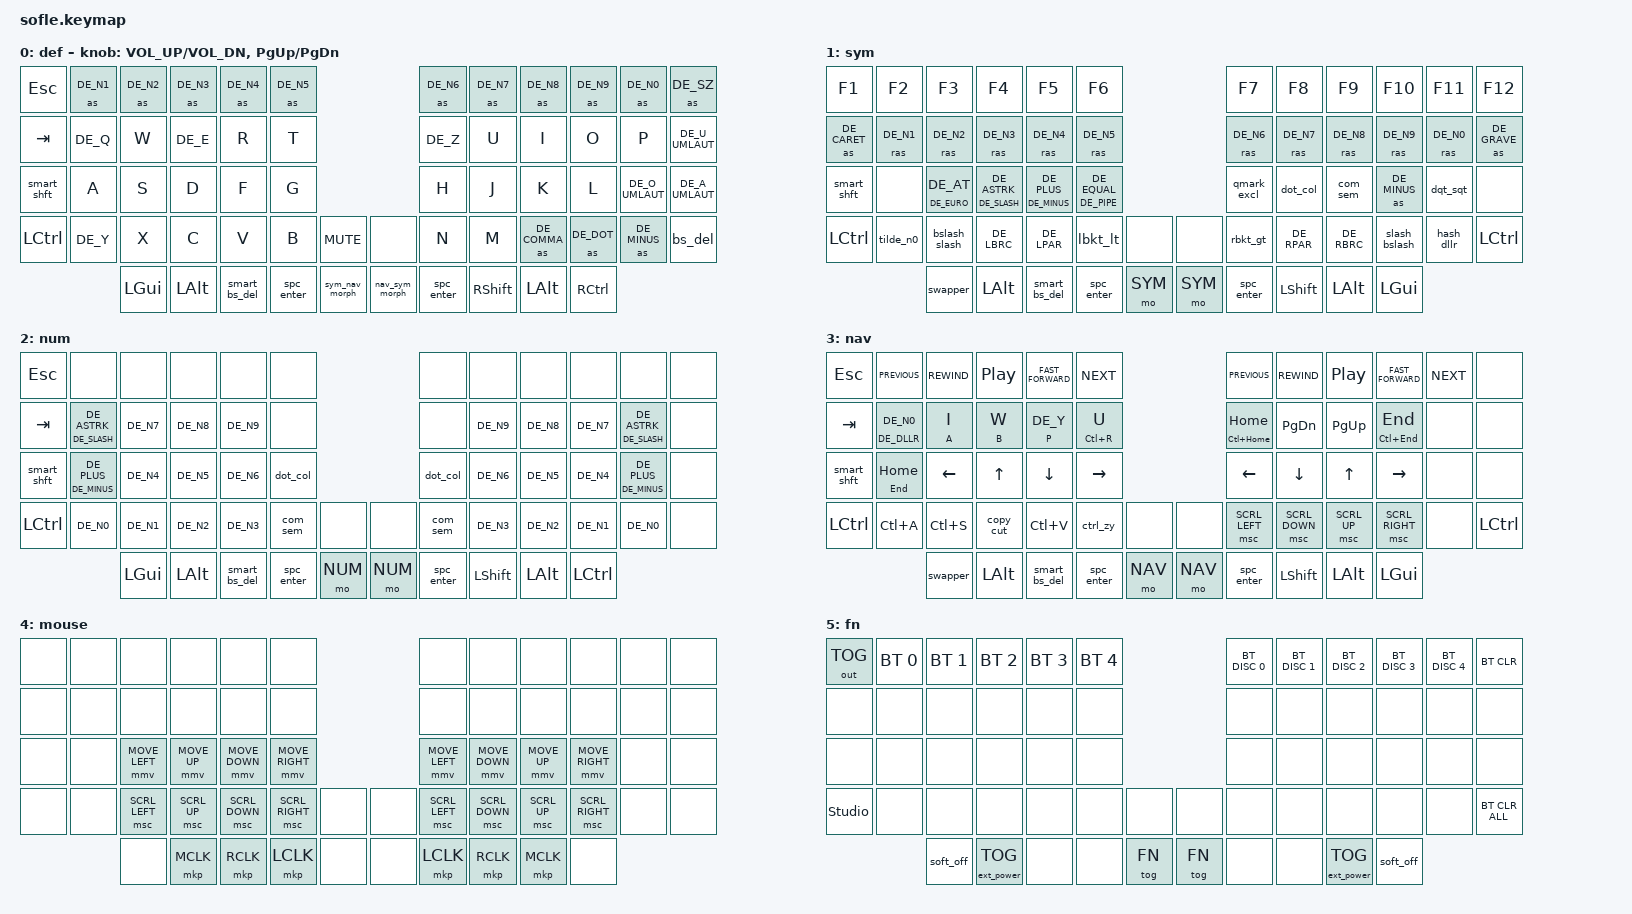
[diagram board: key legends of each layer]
#include <dt-bindings/zmk/keys.h>
#include <dt-bindings/zmk/bt.h>
#include <dt-bindings/zmk/ext_power.h>
#include <dt-bindings/zmk/outputs.h>

#include <behaviors.dtsi>

#include <behaviors/num_word.dtsi> // Requires auto-layer module.

#include "zmk-helpers/helper.h"
#include "zmk-helpers/key-labels/sofle.h" // Source desired key-position labels

#include <locale/keys_de.h> // for  german keys
#include "zmk-helpers/unicode-chars/german.dtsi"

/*
sofle mappings
╭────────────────────────────┬────────────────────────────╮ ╭─────────────────────────────┬─────────────────────────────╮
│  0   1   2   3   4   5     │      6   7   8   9  10  11 │ │ LN5 LN4 LN3 LN2 LN1 LN0     │     RN0 RN1 RN2 RN3 RN4 RN5 │
│ 12  13  14  15  16  17     │     18  19  20  21  22  23 │ │ LT5 LT4 LT3 LT2 LT1 LT0     │     RT0 RT1 RT2 RT3 RT4 RT5 │
│ 24  25  26  27  28  29     │     30  31  32  33  34  35 │ │ LM5 LM4 LM3 LM2 LM1 LM0     │     RM0 RM1 RM2 RM3 RM4 RM5 │
│ 36  37  38  39  40  41  42 │ 43  44  45  46  47  48  49 │ │ LB5 LB4 LB3 LB2 LB1 LB0 LEC │ REC RB0 RB1 RB2 RB3 RB4 RB5 │
╰───────╮ 50  51  52  53  54 │ 55  56  57  58  59 ╭───────╯ ╰───────╮ LH4 LH3 LH2 LH1 LH0 │ RH0 RH1 RH2 RH3 RH4 ╭───────╯
        ╰────────────────────┴────────────────────╯                 ╰─────────────────────┴─────────────────────╯
*/

/* layers */
#define DEF 0
#define SYM 1
#define NUM 2
#define NAV 3
#define MOUSE 4
#define FN 5

#define QUICK_TAP_MS 175

// SYM + NAV --> SYS
/* ZMK_CONDITIONAL_LAYER(sys, SYM NAV, SYSTEM) */

#define ZMK_POINTING_DEFAULT_MOVE_VAL 4000  // 600
#define ZMK_POINTING_DEFAULT_SCRL_VAL 50    // 10

#include <dt-bindings/zmk/pointing.h>

&soft_off { hold-time-ms = <5000>; };

// sticky-key config
&sk {
    release-after-ms = <900>;  // release after 0.9s
    quick-release;             // no double capitalization when rolling keys
};

&sl {  // sticky-layer config
    ignore-modifiers;          // allow chording sticky mods & layers
};

// long-tap action on hold, short-tap action on all interrupts
&mt {
    flavor = "tap-preferred";
    tapping-term-ms = <220>;
    quick-tap-ms = <220>;
    hold-trigger-key-positions = <0>;

};

// config for mouse, defaults in comments
&mmv {
    acceleration-exponent = <1>;      // 1
    time-to-max-speed-ms = <750>;     // 300
    delay-ms = <0>;                   // 0
};
&msc {
    acceleration-exponent = <1>;      // 0
    time-to-max-speed-ms = <100>;      // 300
    delay-ms = <0>;                   // 0
};

// Define mod-morph with a *single* mod trigger for less repetition.
#define SIMPLE_MORPH(NAME, MOD, BINDING1, BINDING2)                            \
    ZMK_MOD_MORPH(NAME, mods = <(MOD_L##MOD | MOD_R##MOD)>;                      \
    bindings = <BINDING1>, <BINDING2>;)

// Smart-mouse, requires tri-state module.
ZMK_TRI_STATE(
    smart_mouse,
    bindings = <&tog MOUSE>, <&none>, <&tog MOUSE>;
    ignored-key-positions = <LM3 LM2 LM1 LM0 LB3 LB2 LB1 LB0 LH3 LH2 LH1 LH0 RH0 RH1 RH2 RH3 RB0 RB1 RB2 RB3 RM0 RM1 RM2 RM3>;
    ignored-layers = <MOUSE>;
)

// tap: sticky-shift | shift + tap/ double-tap: caps-word | hold: shift
ZMK_MOD_MORPH(smart_shft,
    bindings = <&sk LSHFT>, <&caps_word>;
    mods = <(MOD_LSFT)>;
)
&caps_word { // Mods deactivate caps-word, requires PR #1451
  /delete-property/ ignore-modifiers;
};

&num_word {
  continue-list = <BSPC DEL DOT COMMA DE_ASTRK DE_PLUS DE_MINUS DE_SLASH>;  // do not continue on PLUS, MINUS, STAR, FSLH, EQUAL
};
// Tap: num-word | double-tap: sticky num-layer | Hold: num-layer.
#define _SMART_NUM &smart_num NUM 0
ZMK_HOLD_TAP(
    smart_num,
    bindings = <&mo>, <&num_dance>;
    flavor = "balanced";
    tapping-term-ms = <200>;
    quick-tap-ms = <QUICK_TAP_MS>;
)
ZMK_TAP_DANCE(
    num_dance,
    bindings = <&num_word NUM>, <&sl NUM>;
    tapping-term-ms = <200>;
)

// tap: sticky layer | double tap: toggle NAV | hold: NAV layer
#define _SMART_SYM &smart_sym SYM 0
ZMK_HOLD_TAP(
    smart_sym,
    bindings = <&mo>, <&sym_dance>;
    flavor = "balanced";
    tapping-term-ms = <200>;
    quick-tap-ms = <QUICK_TAP_MS>;
)
#define _SMART_SYM2 &smart_sym2 SYM SYM
ZMK_HOLD_TAP(
    smart_sym2,
    bindings = <&mo>, <&tog>;
    flavor = "balanced";
    tapping-term-ms = <200>;
    quick-tap-ms = <QUICK_TAP_MS>;
)
ZMK_TAP_DANCE(
    sym_dance,
    bindings = <&sl SYM>, <&tog SYM>;
    tapping-term-ms = <300>;
)

// tap: sticky layer | double tap: toggle SYM | hold: SYM layer
#define _SMART_NAV &smart_nav NAV 0
ZMK_HOLD_TAP(
    smart_nav,
    bindings = <&mo>, <&nav_dance>;
    flavor = "balanced";
    tapping-term-ms = <200>;
    quick-tap-ms = <QUICK_TAP_MS>;
)
#define _SMART_NAV2 &smart_nav2 NAV NAV
ZMK_HOLD_TAP(
    smart_nav2,
    bindings = <&mo>, <&tog>;
    flavor = "balanced";
    tapping-term-ms = <200>;
    quick-tap-ms = <QUICK_TAP_MS>;
)
ZMK_TAP_DANCE(
    nav_dance,
    bindings = <&sl NAV>, <&tog NAV>;
    tapping-term-ms = <300>;
)

// SMART_NAV with shift behavior:
// - Normal press: SMART_NAV
// - With Shift: SMART_SYM
// Allows accessing symbol layer with shift+nav key
#define _SMART_NAV_SYM &nav_sym_morph
ZMK_MOD_MORPH(nav_sym_morph,
    bindings = <_SMART_NAV>, <_SMART_SYM2>;
    mods = <(MOD_LSFT|MOD_RSFT)>;
)

// SMART_SYM with shift behavior:
// - Normal press: SMART_SYM
// - With Shift: SMART_NAV
// Allows accessing navigation layer with shift+sym key
#define _SMART_SYM_NAV &sym_nav_morph
ZMK_MOD_MORPH(sym_nav_morph,
    bindings = <_SMART_SYM>, <_SMART_NAV2>;
    mods = <(MOD_LSFT|MOD_RSFT)>;
)


// tap: backspace | lshft + tap: delete | rshft + tap: shift-delete

ZMK_MOD_MORPH(bs_del,
    bindings = <&kp BSPC>, <&kp DEL>;
    mods = <(MOD_LSFT|MOD_RSFT)>;
    keep-mods = <MOD_RSFT>;
)
ZMK_MOD_MORPH(rbs_del,
    bindings = <&kp BSPC>, <&kp DEL>;
    mods = <(MOD_LSFT|MOD_RSFT)>;
)

// Advanced backspace/delete with Ctrl support using ZMK Helpers
// - Tap: Backspace
// - Shift + tap: Delete
// - RShift + tap: Shift+Delete
// - Ctrl + tap: Ctrl+Backspace (delete word backward)
// - Ctrl+Shift + tap: Ctrl+Delete (delete word forward)

ZMK_MOD_MORPH(ctrl_bspc_del,
    bindings = <&kp LC(BSPC)>, <&kp LC(DEL)>;
    mods = <(MOD_LSFT|MOD_RSFT)>;
    keep-mods = <(MOD_RSFT)>;
)

ZMK_MOD_MORPH(enhanced_bs_del,
    bindings = <&kp BSPC>, <&kp DEL>;
    mods = <(MOD_LSFT|MOD_RSFT)>;
    keep-mods = <(MOD_RSFT)>;
)

ZMK_MOD_MORPH(smart_bs_del,
    bindings = <&enhanced_bs_del>, <&ctrl_bspc_del>;
    mods = <(MOD_LCTL|MOD_RCTL)>;
)

// Advanced backspace/delete with Ctrl support using ZMK Helpers
// - Tap: Backspace
// - Shift + tap: Delete
// - RShift + tap: Shift+Delete
// - Ctrl + tap: Ctrl+Backspace (delete word backward)
// - Ctrl+Shift + tap: Ctrl+Delete (delete word forward)

ZMK_MOD_MORPH(ctrl_bspc_del,
    bindings = <&kp LC(BSPC)>, <&kp LC(DEL)>;
    mods = <(MOD_LSFT|MOD_RSFT)>;
    keep-mods = <(MOD_RSFT)>;
)

ZMK_MOD_MORPH(enhanced_bs_del,
    bindings = <&kp BSPC>, <&kp DEL>;
    mods = <(MOD_LSFT|MOD_RSFT)>;
    keep-mods = <(MOD_RSFT)>;
)

ZMK_MOD_MORPH(smart_bs_del,
    bindings = <&enhanced_bs_del>, <&ctrl_bspc_del>;
    mods = <(MOD_LCTL|MOD_RCTL)>;
)

// tap: Space | Shift + tap: enter
// rshift and rctrl are being passed through
ZMK_MOD_MORPH(spc_enter,
    bindings = <&kp SPACE>, <&kp ENTER>;
    mods = <(MOD_LSFT|MOD_RSFT|MOD_LCTL|MOD_RCTL)>;
    keep-mods = <(MOD_RSFT|MOD_RCTL)>;
)


// Alt+Tab swapper, requires tri-state module.
ZMK_TRI_STATE(
    swapper,
    bindings = <&kt LALT>, <&kp TAB>, <&kt LALT>;
    /* ignored-key-positions = <LT2 RT2 RM1 RM2 RM3>; */
)

// Shifted keypress macro
ZMK_MACRO_ONE_PARAM(shifted,
    bindings =
        <&macro_press>,
        <&kp LSHFT &macro_param_1to1>,
        <&macro_tap>,
        <&kp MACRO_PLACEHOLDER>,
        <&macro_release>,
        <&kp LSHFT>;
)
// Autoshift hold-tap behavior
ZMK_HOLD_TAP(as_ht,
    tapping-term-ms = <230>;
    flavor = "tap-preferred";
    bindings = <&shifted>, <&kp>;
)
// Autoshift macro
ZMK_MACRO_ONE_PARAM(as,
    bindings =
        <&macro_press>,
        <&macro_param_1to1 &macro_param_1to2 &as_ht MACRO_PLACEHOLDER MACRO_PLACEHOLDER>,
        <&macro_pause_for_release>,
        <&macro_release>,
        <&macro_param_1to1 &macro_param_1to2 &as_ht MACRO_PLACEHOLDER MACRO_PLACEHOLDER>;
)

// Reversed autoshift hold-tap behavior
ZMK_HOLD_TAP(ras_ht,
    tapping-term-ms = <230>;
    flavor = "tap-preferred";
    bindings = <&kp>, <&shifted>;
)
// Reversed autoshift macro
ZMK_MACRO_ONE_PARAM(ras,
    bindings =
        <&macro_press>,
        <&macro_param_1to1 &macro_param_1to2 &ras_ht MACRO_PLACEHOLDER MACRO_PLACEHOLDER>,
        <&macro_pause_for_release>,
        <&macro_release>,
        <&macro_param_1to1 &macro_param_1to2 &ras_ht MACRO_PLACEHOLDER MACRO_PLACEHOLDER>;
)
// Tap: copy | double-tap: cut.
ZMK_TAP_DANCE(copy_cut,
    bindings = <&kp LC(C)>, <&kp LC(X)>;
    tapping-term-ms = <200>;
)

// Tap: cz | double-tap: cy
ZMK_TAP_DANCE(ctrl_zy,
    bindings = <&kp LC(DE_Z)>, <&kp LC(DE_Y)>;
    tapping-term-ms = <200>;
)

// Tap: cz | double-tap: cy
ZMK_TAP_DANCE(qmark_excl,
    bindings = <&kp DE_QMARK>, <&kp DE_EXCL>;
    tapping-term-ms = <200>;
)

// Tap: dqt | double-tap: sqt
ZMK_TAP_DANCE(dqt_sqt,
    bindings = <&kp DE_DQT>, <&kp DE_SQT>;
    tapping-term-ms = <300>;
)

// Tap: dot | double-tap: doubledot
ZMK_TAP_DANCE(dot_col,
    bindings = <&kp DE_DOT>, <&kp DE_COLON>;
    tapping-term-ms = <200>;
)

// Tap: comma | double-tap: semicolon
ZMK_TAP_DANCE(com_sem,
    bindings = <&kp DE_COMMA>, <&kp DE_SEMICOLON>;
    tapping-term-ms = <200>;
)

// Tap: left bracket | double-tap: less than
ZMK_TAP_DANCE(lbkt_lt,
    bindings = <&kp DE_LBKT>, <&kp DE_LT>;
    tapping-term-ms = <200>;
)

// Tap: right bracket | double-tap: greater than
ZMK_TAP_DANCE(rbkt_gt,
    bindings = <&kp DE_RBKT>, <&kp DE_GT>;
    tapping-term-ms = <200>;
)

// Tap: slash | double-tap: backslash
ZMK_TAP_DANCE(slash_bslash,
    bindings = <&kp DE_SLASH>, <&kp DE_BSLH>;
    tapping-term-ms = <200>;
)
// Tap: backslash | double-tap: slash
ZMK_TAP_DANCE(bslash_slash,
    bindings = <&kp DE_BSLH>, <&kp DE_SLASH>;
    tapping-term-ms = <200>;
)

// Tap: tilde | double-tap: 0
ZMK_TAP_DANCE(tilde_n0,
    bindings = <&kp DE_TILDE >, <&kp DE_N0>;
    tapping-term-ms = <200>;
)

// Tap: hash | double-tap: dollar
ZMK_TAP_DANCE(hash_dllr,
    bindings = <&kp DE_HASH>, <&kp DE_DLLR>;
    tapping-term-ms = <200>;
)




#define _CANCEL    &kp K_CANCEL            // Cancel caps-word & auto-layers.

//combos
#include "sofle_combos.dtsi"

/ {
    keymap {
        compatible = "zmk,keymap";

        default_layer {
            display-name = "def";
            bindings = <
                  &kp ESC       &as DE_N1   &as DE_N2   &as DE_N3   &as DE_N4       &as DE_N5                                          &as DE_N6    &as DE_N7    &as DE_N8      &as DE_N9    &as DE_N0         &as DE_SZ
                  &kp TAB       &kp DE_Q    &kp W       &kp DE_E    &kp R           &kp T                                              &kp DE_Z     &kp U        &kp I          &kp O        &kp P             &kp DE_U_UMLAUT
                  &smart_shft   &kp A       &kp S       &kp D       &kp F           &kp G                                              &kp H        &kp J        &kp K          &kp L        &kp DE_O_UMLAUT   &kp DE_A_UMLAUT
                  &kp LCTRL     &kp DE_Y    &kp X       &kp C       &kp V           &kp B        &kp C_MUTE           &none            &kp N        &kp M        &as DE_COMMA   &as DE_DOT   &as DE_MINUS      &bs_del
                                            &kp LGUI    &kp LALT    &smart_bs_del   &spc_enter   _SMART_SYM_NAV       _SMART_NAV_SYM   &spc_enter   &kp RSHIFT   &kp LALT       &kp RCTRL
            >;
                sensor-bindings = <&inc_dec_kp C_VOL_UP C_VOL_DN &inc_dec_kp PG_UP PG_DN>;
        };

        sym_layer {
            display-name = "sym";
            bindings = <
                  &kp F1         &kp F2       &kp F3              &kp F4                  &kp F5                 &kp F6                                         &kp F7        &kp F8        &kp F9        &kp F10         &kp F11      &kp F12
                  &as DE_CARET   &ras DE_N1   &ras DE_N2          &ras DE_N3              &ras DE_N4             &ras DE_N5                                     &ras DE_N6    &ras DE_N7    &ras DE_N8    &ras DE_N9      &ras DE_N0   &as DE_GRAVE
                  &smart_shft    &none        &mt DE_EURO DE_AT   &mt DE_SLASH DE_ASTRK   &mt DE_MINUS DE_PLUS   &mt DE_PIPE DE_EQUAL                           &qmark_excl   &dot_col      &com_sem      &as DE_MINUS    &dqt_sqt     &none
                  &kp LCTRL      &tilde_n0    &bslash_slash       &kp DE_LBRC             &kp DE_LPAR            &lbkt_lt               &none         &none     &rbkt_gt      &kp DE_RPAR   &kp DE_RBRC   &slash_bslash   &hash_dllr   &kp LCTRL
                                              &swapper            &kp LALT                &smart_bs_del          &spc_enter             &mo SYM       &mo SYM   &spc_enter    &kp LSHIFT    &kp LALT      &kp LGUI
            >;
        };

        num_layer {
            display-name = "num";
            bindings = <
                  &kp ESC       &none                   &none       &none       &none           &none                                &none        &none        &none       &none       &none                   &none
                  &kp TAB       &mt DE_SLASH DE_ASTRK   &kp DE_N7   &kp DE_N8   &kp DE_N9       &none                                &none        &kp DE_N9    &kp DE_N8   &kp DE_N7   &mt DE_SLASH DE_ASTRK   &none
                  &smart_shft   &mt DE_MINUS DE_PLUS    &kp DE_N4   &kp DE_N5   &kp DE_N6       &dot_col                             &dot_col     &kp DE_N6    &kp DE_N5   &kp DE_N4   &mt DE_MINUS DE_PLUS    &none
                  &kp LCTRL     &kp DE_N0               &kp DE_N1   &kp DE_N2   &kp DE_N3       &com_sem     &none         &none     &com_sem     &kp DE_N3    &kp DE_N2   &kp DE_N1   &kp DE_N0               &none
                                                        &kp LGUI    &kp LALT    &smart_bs_del   &spc_enter   &mo NUM       &mo NUM   &spc_enter   &kp LSHIFT   &kp LALT    &kp LCTRL
            >;
        };

        nav_layer {
            display-name = "nav";
            bindings = <
                  &kp ESC       &kp C_PREVIOUS      &kp C_REWIND   &kp C_PLAY_PAUSE   &kp C_FAST_FORWARD   &kp C_NEXT                            &kp C_PREVIOUS      &kp C_REWIND     &kp C_PLAY_PAUSE   &kp C_FAST_FORWARD   &kp C_NEXT   &none
                  &kp TAB       &mt DE_DLLR DE_N0   &mt A I        &mt B W            &mt P DE_Y           &mt LC(R) U                           &mt LC(HOME) HOME   &kp PG_DN        &kp PG_UP          &mt LC(END) END      &none        &none
                  &smart_shft   &mt END HOME        &kp LEFT       &kp UP             &kp DOWN             &kp RIGHT                             &kp LEFT            &kp DOWN         &kp UP             &kp RIGHT            &none        &none
                  &kp LCTRL     &kp LC(A)           &kp LC(S)      &copy_cut          &kp LC(V)            &ctrl_zy      &none         &none     &msc SCRL_LEFT      &msc SCRL_DOWN   &msc SCRL_UP       &msc SCRL_RIGHT      &none        &kp LCTRL
                                                    &swapper       &kp LALT           &smart_bs_del        &spc_enter    &mo NAV       &mo NAV   &spc_enter          &kp LSHFT        &kp LALT           &kp LGUI
            >;
        };

        mouse_layer {
            display-name = "mouse";
            bindings = <
                  &none   &none   &none            &none          &none            &none                                 &none            &none            &none          &none             &none   &none
                  &none   &none   &none            &none          &none            &none                                 &none            &none            &none          &none             &none   &none
                  &none   &none   &mmv MOVE_LEFT   &mmv MOVE_UP   &mmv MOVE_DOWN   &mmv MOVE_RIGHT                       &mmv MOVE_LEFT   &mmv MOVE_DOWN   &mmv MOVE_UP   &mmv MOVE_RIGHT   &none   &none
                  &none   &none   &msc SCRL_LEFT   &msc SCRL_UP   &msc SCRL_DOWN   &msc SCRL_RIGHT   &none       &none   &msc SCRL_LEFT   &msc SCRL_DOWN   &msc SCRL_UP   &msc SCRL_RIGHT   &none   &none
                                  &none            &mkp MCLK      &mkp RCLK        &mkp LCLK         &none       &none   &mkp LCLK        &mkp RCLK        &mkp MCLK      &none
            >;
        };

        fn_layer {
            display-name = "fn";
            bindings = <
                  &out OUT_TOG     &bt BT_SEL 0   &bt BT_SEL 1   &bt BT_SEL 2        &bt BT_SEL 3   &bt BT_SEL 4                           &bt BT_DISC 0   &bt BT_DISC 1   &bt BT_DISC 2       &bt BT_DISC 3   &bt BT_DISC 4   &bt BT_CLR
                  &none            &none          &none          &none               &none          &none                                  &none           &none           &none               &none           &none           &none
                  &none            &none          &none          &none               &none          &none                                  &none           &none           &none               &none           &none           &none
                  &studio_unlock   &none          &none          &none               &none          &none          &none         &none     &none           &none           &none               &none           &none           &bt BT_CLR_ALL
                                                  &soft_off      &ext_power EP_TOG   &none          &none          &tog FN       &tog FN   &none           &none           &ext_power EP_TOG   &soft_off
            >;
        };
    };
};
